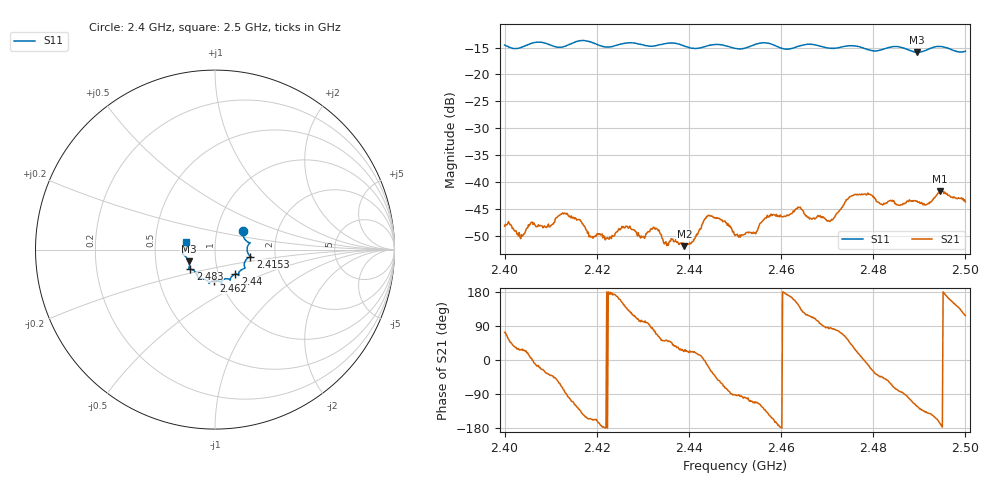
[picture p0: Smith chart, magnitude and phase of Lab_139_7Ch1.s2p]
# Hz S RI R 50
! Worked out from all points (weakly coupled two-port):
!   601 points, 2.4 GHz to 2.5 GHz, reference 50 ohm
!   highest |S21| = -41.68 dB at 2.4945 GHz (marker M1); lowest = -52.0 dB at 2.439 GHz (marker M2)
!   lowest |S11| = -15.9 dB at 2.4895 GHz (marker M3), VSWR 1.38, Z = 36.9 - j5 ohm
!   |S11| at or under -10 dB: start of sweep to end of sweep
!   S12 and S22 are empty: the file has one direction only
!   S11 on the Smith chart (normalised r, x): 2.4 GHz: 1.33, +0.29; 2.4153 GHz: 1.48, -0.12; 2.44 GHz: 1.20, -0.34; 2.462 GHz: 0.93, -0.33; 2.483 GHz: 0.74, -0.17; 2.5 GHz: 0.72, +0.06
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2.4e9  0.1546 0.1063  0.00115 0.00369  0 0  0 0
2.4035e9  0.1697 0.0534  0.00264 0.00134  0 0  0 0
2.4125e9  0.1795 -0.00763  0.00156 -0.00487  0 0  0 0
2.415333e9  0.1966 -0.0386  -0.0022 -0.00408  0 0  0 0
2.416667e9  0.2023 -0.0425  -0.00322 -0.00281  0 0  0 0
2.418833e9  0.1949 -0.042  -0.00282 -0.00126  0 0  0 0
2.433333e9  0.1311 -0.1338  0.00162 0.00313  0 0  0 0
2.435e9  0.131 -0.1434  0.0017 0.0022  0 0  0 0
2.439e9  0.1222 -0.1372  0.0023 0.00103  0 0  0 0
2.44e9  0.1138 -0.1367  0.00247 0.000884  0 0  0 0
2.444333e9  0.085 -0.1653  0.00462 -0.00165  0 0  0 0
2.45e9  0.0646 -0.1625  -0.000117 -0.00317  0 0  0 0
2.462e9  -0.00528 -0.173  -0.00489 0.00114  0 0  0 0
2.464e9  -0.0269 -0.1822  -0.00448 0.00365  0 0  0 0
2.466667e9  -0.034 -0.1875  -0.0017 0.00416  0 0  0 0
2.470833e9  -0.0563 -0.1654  0.000439 0.00437  0 0  0 0
2.476e9  -0.0943 -0.1582  0.00672 0.00365  0 0  0 0
2.483e9  -0.1376 -0.1097  0.00384 -0.00508  0 0  0 0
2.483333e9  -0.1401 -0.1095  0.00361 -0.00553  0 0  0 0
2.4895e9  -0.1464 -0.066  -0.00356 -0.00562  0 0  0 0
2.4945e9  -0.1806 -0.0213  -0.00804 -0.00182  0 0  0 0
2.5e9  -0.1597 0.0396  -0.00296 0.00581  0 0  0 0
